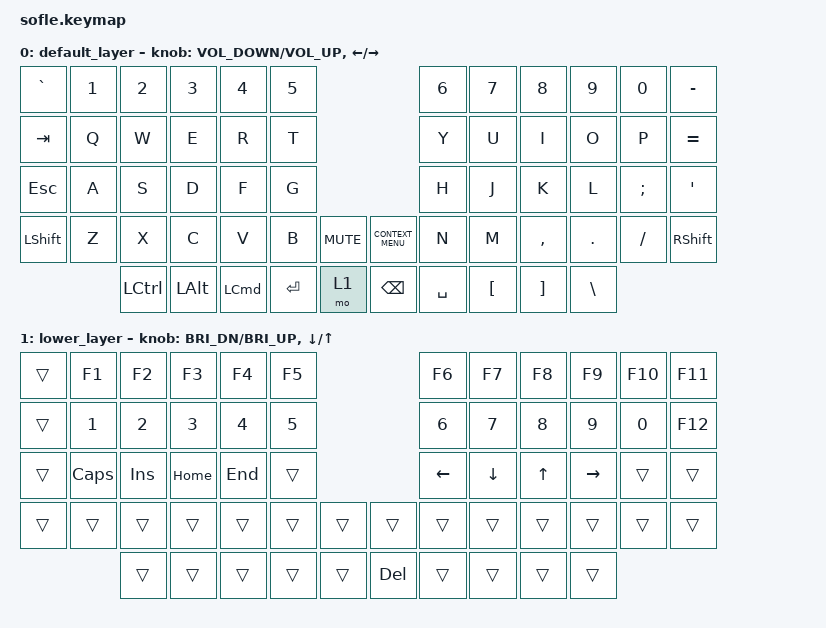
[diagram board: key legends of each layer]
/*
 * Copyright (c) 2020 The ZMK Contributors
 *
 * SPDX-License-Identifier: MIT
 */

#include <behaviors.dtsi>
#include <dt-bindings/zmk/keys.h>

#define BASE 0
#define LOWER 1
#define RAISE 2
#define ADJUST 3

/ {
    // Activate ADJUST layer by pressing raise and lower

    conditional_layers { compatible = "zmk,conditional-layers"; };

    combos {
        compatible = "zmk,combos";

        combo_minus {
            bindings = <&kp MINUS>;
            key-positions = <28 31>;
        };

        combo_backtick {
            bindings = <&kp GRAVE>;
            key-positions = <27 32>;
        };
    };

    keymap {
        compatible = "zmk,keymap";

        default_layer {
            // ------------------------------------------------------------------------------------------------------------
            // |   `   |  1  |  2  |  3   |  4   |  5   |                   |  6   |  7    |  8    |  9   |   0   |       |
            // |  ESC  |  Q  |  W  |  E   |  R   |  T   |                   |  Y   |  U    |  I    |  O   |   P   | BKSPC |
            // |  TAB  |  A  |  S  |  D   |  F   |  G   |                   |  H   |  J    |  K    |  L   |   ;   |   '   |
            // | SHIFT |  Z  |  X  |  C   |  V   |  B   |  MUTE  |  |       |  N   |  M    |  ,    |  .   |   /   | SHIFT |
            //               | GUI | ALT  | CTRL | LOWER|  ENTER |  | SPACE | RAISE| CTRL  | ALT   | GUI  |

            bindings = <
&kp GRAVE   &kp N1  &kp N2            &kp N3    &kp N4            &kp N5                                       &kp N6     &kp N7            &kp N8             &kp N9         &kp N0    &kp MINUS
&kp TAB     &kp Q   &kp W             &kp E     &kp R             &kp T                                        &kp Y      &kp U             &kp I              &kp O          &kp P     &kp EQUAL
&kp ESCAPE  &kp A   &kp S             &kp D     &kp F             &kp G                                        &kp H      &kp J             &kp K              &kp L          &kp SEMI  &kp SQT
&kp LSHFT   &kp Z   &kp X             &kp C     &kp V             &kp B      &kp K_MUTE    &kp K_CONTEXT_MENU  &kp N      &kp M             &kp COMMA          &kp DOT        &kp FSLH  &kp RSHFT
                    &kp LEFT_CONTROL  &kp LALT  &kp LEFT_COMMAND  &kp ENTER  &mo 1         &kp BACKSPACE       &kp SPACE  &kp LEFT_BRACKET  &kp RIGHT_BRACKET  &kp BACKSLASH
            >;

            sensor-bindings =
                <&inc_dec_kp C_VOLUME_DOWN C_VOLUME_UP>,
                <&inc_dec_kp LEFT_ARROW RIGHT_ARROW>;
        };

        lower_layer {
            // TODO: Some binds are waiting for shifted keycode support.
            // ------------------------------------------------------------------------------------------------------------
            // |       |  F1 |  F2 |  F3  |  F4  |  F5  |                   |  F6  |  F7   |  F8   |  F9  |  F10  |  F11  |
            // |   `   |  1  |  2  |  3   |  4   |  5   |                   |  6   |  7    |  8    |  9   |   0   |  F12  |
            // |       |  !  |  @  |  #   |  $   |  %   |                   |  ^   |  &    |  *    |  (   |   )   |   |   |
            // |       |  =  |  -  |  +   |  {   |  }   |        |  |       |  [   |  ]    |  ;    |  :   |   \   |       |
            //               |     |      |      |      |        |  |       |      |       |       |      |

            bindings = <
&trans  &kp F1        &kp F2      &kp F3    &kp F4   &kp F5                        &kp F6          &kp F7          &kp F8        &kp F9     &kp F10  &kp F11
&trans  &kp N1        &kp N2      &kp N3    &kp N4   &kp N5                        &kp N6          &kp N7          &kp N8        &kp N9     &kp N0   &kp F12
&trans  &kp CAPSLOCK  &kp INSERT  &kp HOME  &kp END  &trans                        &kp LEFT_ARROW  &kp DOWN_ARROW  &kp UP_ARROW  &kp RIGHT  &trans   &trans
&trans  &trans        &trans      &trans    &trans   &trans  &trans    &trans      &trans          &trans          &trans        &trans     &trans   &trans
                      &trans      &trans    &trans   &trans  &trans    &kp DELETE  &trans          &trans          &trans        &trans
            >;

            sensor-bindings =
                <&inc_dec_kp C_BRI_DN C_BRI_UP>,
                <&inc_dec_kp DOWN_ARROW UP_ARROW>;
        };
    };
};
